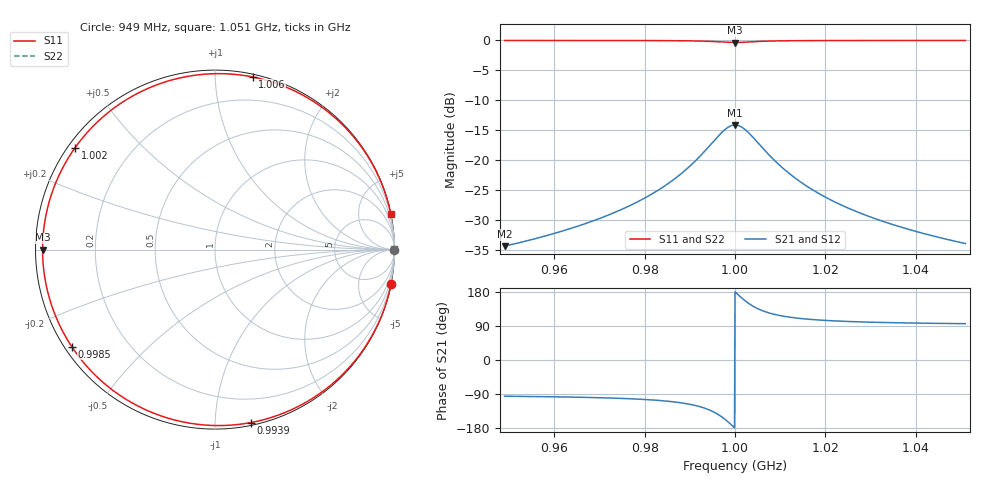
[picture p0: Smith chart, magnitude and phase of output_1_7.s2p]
! File generated for n1 = 1, n2 = 7
! b1 = 100.000000
! b2 = 1.000000
! Q0 = 10000.000000
! f0 = 1000000000.000000
! n = 1001
! rel_span = 10.000000
# Hz S RI R 50
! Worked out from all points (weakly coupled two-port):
!   1001 points, 949 MHz to 1.051 GHz, reference 50 ohm
!   highest |S21| = -14.15 dB at 1 GHz (marker M1); lowest = -34.4 dB at 949 MHz (marker M2)
!   lowest |S11| = -0.3 dB at 1 GHz (marker M3), VSWR 50.00, Z = 1 + j0 ohm
!   |S11| at or under -10 dB: nowhere
!   |S22| runs from -0.2 to 0.0 dB; largest |S21 - S12| = 0
!   S11 on the Smith chart (normalised r, x): 949 MHz: 0, -10; 993.9 MHz: 0.02, -1.23; 998.5 MHz: 0.02, -0.31; 1.002 GHz: 0.02, +0.33; 1.006 GHz: 0.02, +1.24; 1.051 GHz: 0.02, +9.95
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9.49e8  0.9816 -0.1892  -0.00184 -0.0189  -0.00184 -0.0189  0.9998 -0.00189
9.66034e8  0.9582 -0.2832  -0.00418 -0.0283  -0.00418 -0.0283  0.9996 -0.00283
9.75724e8  0.9191 -0.3901  -0.00809 -0.039  -0.00809 -0.039  0.9992 -0.0039
9.83068e8  0.8395 -0.5376  -0.0161 -0.0538  -0.0161 -0.0538  0.9984 -0.00538
9.89596e8  0.6233 -0.7725  -0.0377 -0.0772  -0.0377 -0.0772  0.9962 -0.00772
9.91942e8  0.4424 -0.8845  -0.0558 -0.0885  -0.0558 -0.0885  0.9944 -0.00885
9.9388e8  0.1993 -0.9638  -0.0801 -0.0964  -0.0801 -0.0964  0.992 -0.00964
9.9643e8  -0.3144 -0.9217  -0.1314 -0.0922  -0.1314 -0.0922  0.9869 -0.00922
9.9745e8  -0.5678 -0.7849  -0.1568 -0.0785  -0.1568 -0.0785  0.9843 -0.00785
9.9847e8  -0.7987 -0.54  -0.1799 -0.054  -0.1799 -0.054  0.982 -0.0054
1e9  -0.9608 0  -0.1961 0  -0.1961 0  0.9804 0
1.000816e9  -0.9119 0.3058  -0.1912 0.0306  -0.1912 0.0306  0.9809 0.00306
1.001632e9  -0.7789 0.5688  -0.1779 0.0569  -0.1779 0.0569  0.9822 0.00569
1.00255e9  -0.5694 0.7837  -0.1569 0.0784  -0.1569 0.0784  0.9843 0.00784
1.00357e9  -0.3175 0.9206  -0.1318 0.0921  -0.1318 0.0921  0.9868 0.00921
1.004692e9  -0.0642 0.9768  -0.1064 0.0977  -0.1064 0.0977  0.9894 0.00977
1.006222e9  0.2091 0.9619  -0.0791 0.0962  -0.0791 0.0962  0.9921 0.00962
1.00816e9  0.446 0.8828  -0.0554 0.0883  -0.0554 0.0883  0.9945 0.00883
1.010506e9  0.6229 0.7728  -0.0377 0.0773  -0.0377 0.0773  0.9962 0.00773
1.017034e9  0.8362 0.5426  -0.0164 0.0543  -0.0164 0.0543  0.9984 0.00543
1.034068e9  0.9556 0.2917  -0.00444 0.0292  -0.00444 0.0292  0.9996 0.00292
1.051e9  0.9796 0.1989  -0.00204 0.0199  -0.00204 0.0199  0.9998 0.00199
